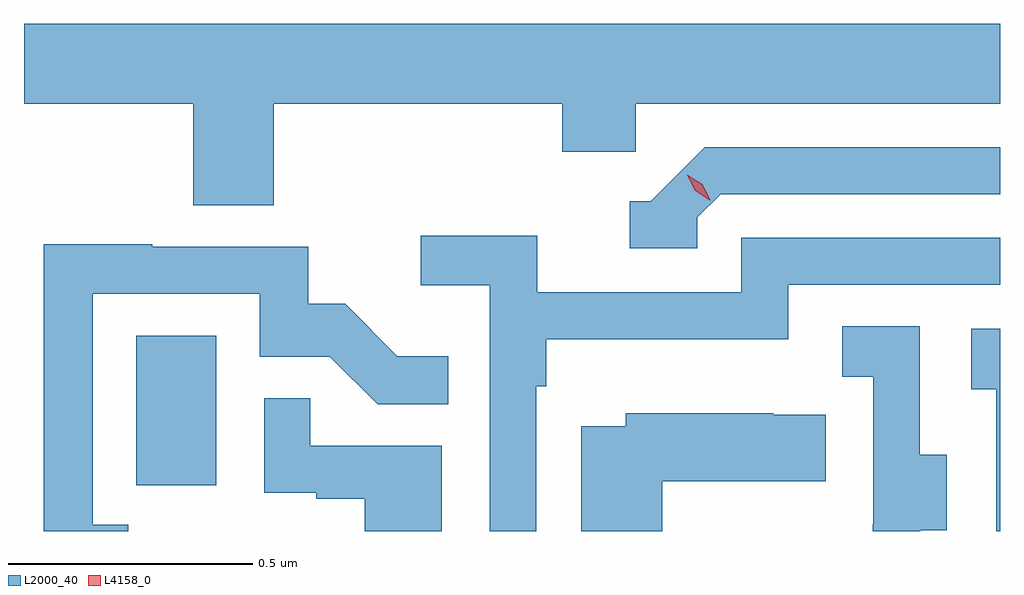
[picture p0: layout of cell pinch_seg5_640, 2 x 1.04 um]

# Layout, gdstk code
import gdstk
lib = gdstk.Library(unit=1e-6, precision=1e-09)
def R(c, l, rs):  # rectangles x0, y0, x1, y1
    for r in rs: c.add(gdstk.rectangle(r[:2], r[2:], *l))
def P(c, l, *ps):  # polygons
    for p in ps: c.add(gdstk.Polygon(p, *l))
L2000_40 = (2000, 40)
L4158_0 = (4158, 0)

pinch_seg5_640 = lib.new_cell('pinch_seg5_640')
R(pinch_seg5_640, L2000_40, [(1073.522,859.974,1073.686,860.281)])
P(pinch_seg5_640, L2000_40, [(1073.804,860.756),(1074.395,860.756),(1074.395,860.658),(1074.546,860.658),(1074.546,860.756),(1075.292,860.756),(1075.292,860.92),(1073.292,860.92),(1073.292,860.756),(1073.639,860.756),(1073.639,860.548),(1073.804,860.548)],
  [(1074.672,860.523),(1074.72,860.571),(1075.292,860.571),(1075.292,860.667),(1074.687,860.667),(1074.576,860.556),(1074.533,860.556),(1074.533,860.46),(1074.672,860.46)],
  [(1074.342,860.177),(1074.362,860.177),(1074.362,860.273),(1074.858,860.273),(1074.858,860.385),(1075.292,860.385),(1075.292,860.481),(1074.762,860.481),(1074.762,860.37),(1074.344,860.37),(1074.344,860.486),(1074.105,860.486),(1074.105,860.384),(1074.246,860.384),(1074.246,859.88),(1074.342,859.88)],
  [(1073.506,859.893),(1073.433,859.893),(1073.433,860.367),(1073.775,860.367),(1073.775,860.238),(1073.919,860.238),(1074.017,860.14),(1074.161,860.14),(1074.161,860.239),(1074.057,860.239),(1073.95,860.346),(1073.874,860.346),(1073.874,860.463),(1073.555,860.463),(1073.555,860.468),(1073.332,860.468),(1073.332,859.88),(1073.506,859.88)],
  [(1075.129,859.882),(1075.183,859.882),(1075.183,860.037),(1075.128,860.037),(1075.128,860.3),(1074.969,860.3),(1074.969,860.197),(1075.032,860.197),(1075.032,859.893),(1075.031,859.893),(1075.031,859.88),(1075.129,859.88)],
  [(1075.292,860.295),(1075.233,860.295),(1075.233,860.171),(1075.284,860.171),(1075.284,859.88),(1075.292,859.88)],
  [(1074.148,860.055),(1073.879,860.055),(1073.879,860.153),(1073.784,860.153),(1073.784,859.959),(1073.891,859.959),(1073.891,859.947),(1073.99,859.947),(1073.99,859.88),(1074.148,859.88)],
  [(1074.6,859.982),(1074.935,859.982),(1074.935,860.119),(1074.827,860.119),(1074.827,860.122),(1074.525,860.122),(1074.525,860.095),(1074.434,860.095),(1074.434,859.88),(1074.6,859.88)])
P(pinch_seg5_640, L4158_0, [(1074.697,860.558),(1074.667,860.578),(1074.651,860.61),(1074.651,860.611),(1074.651,860.611),(1074.682,860.591),(1074.698,860.559),(1074.698,860.558)])

lib.write_gds('pinch_seg5_640.gds')
